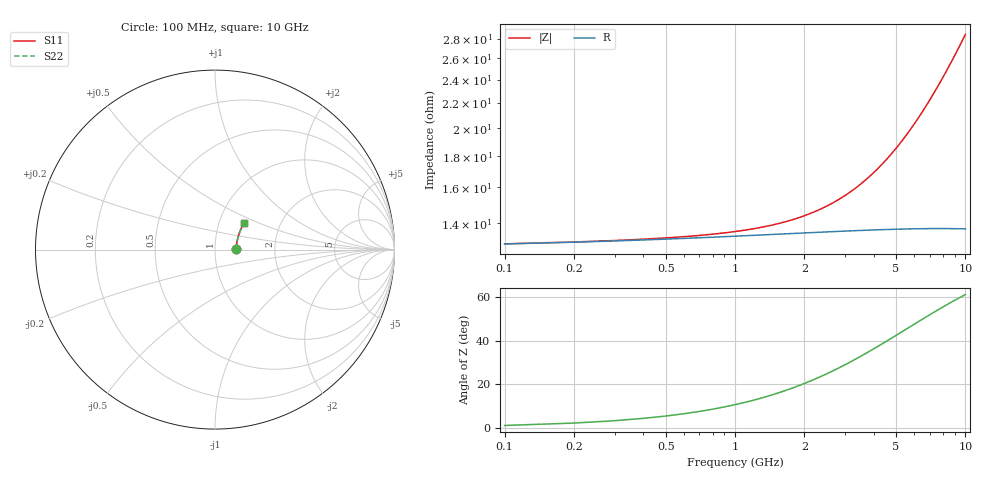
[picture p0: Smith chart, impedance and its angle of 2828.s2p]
# Hz S RI R 50.00
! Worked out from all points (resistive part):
!   100 points, 100 MHz to 10 GHz, reference 50 ohm
!   read as one part in series: R = 12.9 ohm at 100 MHz
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1e8  0.1146 0.00159  0.8854 -0.00232  0.8854 -0.00232  0.1146 0.00159
2e8  0.1153 0.00318  0.8847 -0.00464  0.8847 -0.00464  0.1153 0.00318
3e8  0.1158 0.00476  0.8842 -0.00696  0.8842 -0.00696  0.1158 0.00476
6e8  0.1169 0.0095  0.8831 -0.0139  0.8831 -0.0139  0.1169 0.0095
9e8  0.1177 0.0142  0.8822 -0.0208  0.8822 -0.0208  0.1177 0.0142
1.2e9  0.1185 0.0189  0.8814 -0.0277  0.8814 -0.0277  0.1185 0.0189
1.5e9  0.1193 0.0236  0.8807 -0.0346  0.8807 -0.0346  0.1193 0.0236
1.8e9  0.12 0.0283  0.8799 -0.0415  0.8799 -0.0415  0.12 0.0283
2.2e9  0.1211 0.0345  0.8788 -0.0506  0.8788 -0.0506  0.1211 0.0345
2.6e9  0.1222 0.0407  0.8776 -0.0597  0.8776 -0.0597  0.1222 0.0407
3e9  0.1234 0.0469  0.8763 -0.0688  0.8763 -0.0688  0.1234 0.0469
3.4e9  0.1247 0.053  0.8749 -0.0779  0.8749 -0.0779  0.1247 0.053
3.8e9  0.1261 0.0591  0.8735 -0.0869  0.8735 -0.0869  0.1261 0.0591
4.2e9  0.1276 0.0652  0.8719 -0.0959  0.8719 -0.0959  0.1276 0.0652
4.6e9  0.1292 0.0712  0.8702 -0.1049  0.8702 -0.1049  0.1292 0.0712
5.1e9  0.1314 0.0787  0.8679 -0.116  0.8679 -0.116  0.1314 0.0787
5.9e9  0.1352 0.0905  0.8638 -0.1337  0.8638 -0.1337  0.1352 0.0905
6.7e9  0.1394 0.1022  0.8593 -0.1512  0.8593 -0.1512  0.1394 0.1022
7.6e9  0.1447 0.115  0.8536 -0.1706  0.8536 -0.1706  0.1447 0.115
8.4e9  0.1499 0.1261  0.8481 -0.1876  0.8481 -0.1876  0.1499 0.1261
9.2e9  0.1555 0.137  0.8421 -0.2044  0.8421 -0.2044  0.1555 0.137
1e10  0.1615 0.1475  0.8356 -0.2208  0.8356 -0.2208  0.1615 0.1475
